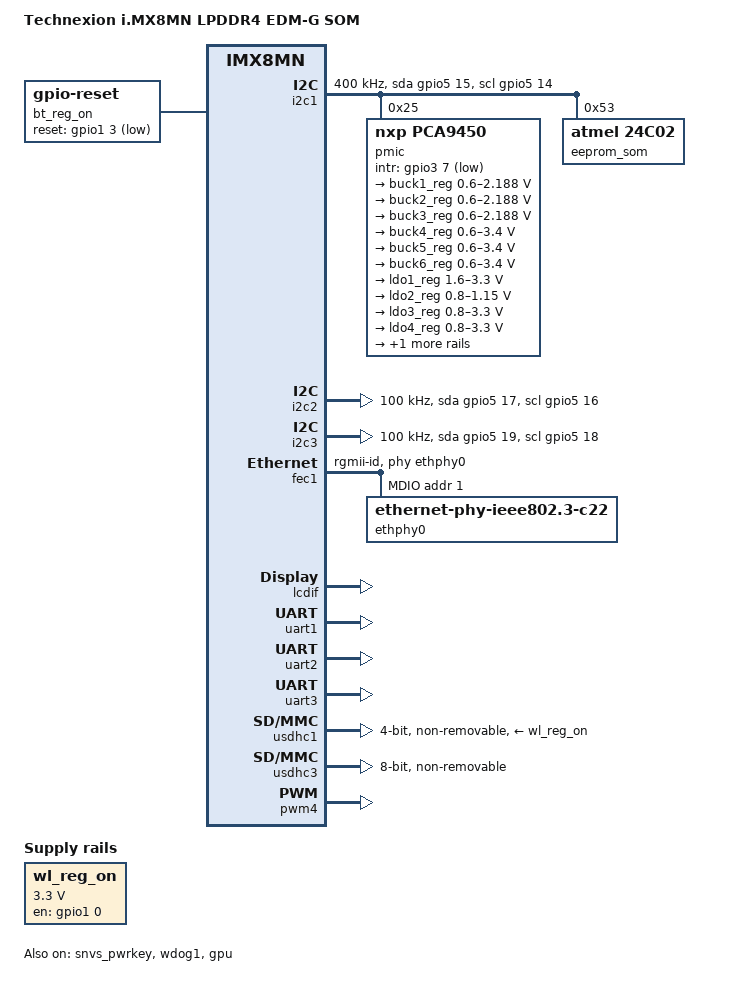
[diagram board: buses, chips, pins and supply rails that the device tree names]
// SPDX-License-Identifier: (GPL-2.0+ OR MIT)
/*
 * Copyright 2021 TechNexion Ltd.
 *
 * Author: Andy Lin <andy.lin@technexion.com>
 *
 */

/dts-v1/;

#include <dt-bindings/usb/pd.h>
#include "imx8mn.dtsi"

/ {
	model = "Technexion i.MX8MN LPDDR4 EDM-G SOM";
	compatible = "fsl,imx8mn-edm-g", "fsl,imx8mn";

	chosen {
		bootargs = "console=ttymxc1,115200 earlycon=ec_imx6q,0x30890000,115200";
		stdout-path = &uart2;
	};

	bt_reg_on: btreg_on {
		compatible = "gpio-reset";
		pinctrl-names = "default";
		pinctrl-0 = <&pinctrl_bt_ctrl>;
		reset-gpios = <&gpio1 3 GPIO_ACTIVE_LOW>;
		reset-delay-us = <2000>;
		reset-post-delay-ms = <40>;
		#reset-cells = <0>;
	};

	regulators {
		compatible = "simple-bus";
		#address-cells = <1>;
		#size-cells = <0>;

		wl_reg_on: wlreg_on {
			compatible = "regulator-fixed";
			pinctrl-names = "default";
			pinctrl-0 = <&pinctrl_wifi_ctrl>;
			regulator-name = "WL_REG_ON";
			regulator-min-microvolt = <3300000>;
			regulator-max-microvolt = <3300000>;
			gpio = <&gpio1 0 GPIO_ACTIVE_HIGH>;
			off-on-delay = <20000>;
			startup-delay-us = <100>;
			enable-active-high;
		};
	};

	dsi_host: dsi-host {
		compatible = "samsung,sec-mipi-dsi";
		status = "okay";
	};
};

&iomuxc {
	pinctrl-names = "default";

	imx8mn-edm-g {
		pinctrl_wifi_ctrl: wifi_ctrlgrp {
			fsl,pins = <
				MX8MN_IOMUXC_GPIO1_IO00_GPIO1_IO0		0x41 /* WL_REG_ON */
			>;
		};

		pinctrl_bt_ctrl: bt_ctrlgrp {
			fsl,pins = <
				MX8MN_IOMUXC_GPIO1_IO03_GPIO1_IO3		0x41 /* BT_REG_ON */
			>;
		};

		pinctrl_fec1: fec1grp {
			fsl,pins = <
				MX8MN_IOMUXC_ENET_MDC_ENET1_MDC				0x3
				MX8MN_IOMUXC_ENET_MDIO_ENET1_MDIO			0x3
				MX8MN_IOMUXC_ENET_TD3_ENET1_RGMII_TD3		0x1f
				MX8MN_IOMUXC_ENET_TD2_ENET1_RGMII_TD2		0x1f
				MX8MN_IOMUXC_ENET_TD1_ENET1_RGMII_TD1		0x1f
				MX8MN_IOMUXC_ENET_TD0_ENET1_RGMII_TD0		0x1f
				MX8MN_IOMUXC_ENET_RD3_ENET1_RGMII_RD3		0x91
				MX8MN_IOMUXC_ENET_RD2_ENET1_RGMII_RD2		0x91
				MX8MN_IOMUXC_ENET_RD1_ENET1_RGMII_RD1		0x91
				MX8MN_IOMUXC_ENET_RD0_ENET1_RGMII_RD0		0x91
				MX8MN_IOMUXC_ENET_TXC_ENET1_RGMII_TXC		0x1f
				MX8MN_IOMUXC_ENET_RXC_ENET1_RGMII_RXC		0x91
				MX8MN_IOMUXC_ENET_RX_CTL_ENET1_RGMII_RX_CTL	0x91
				MX8MN_IOMUXC_ENET_TX_CTL_ENET1_RGMII_TX_CTL	0x1f
				MX8MN_IOMUXC_SD1_DATA5_GPIO2_IO7			0x19
			>;
		};

		pinctrl_flexspi0: flexspi0grp {
			fsl,pins = <
				MX8MN_IOMUXC_NAND_ALE_QSPI_A_SCLK		0x1c4
				MX8MN_IOMUXC_NAND_CE0_B_QSPI_A_SS0_B	0x84
				MX8MN_IOMUXC_NAND_DQS_QSPI_A_DQS		0x40000084
				MX8MN_IOMUXC_NAND_DATA00_QSPI_A_DATA0	0x84
				MX8MN_IOMUXC_NAND_DATA01_QSPI_A_DATA1	0x84
				MX8MN_IOMUXC_NAND_DATA02_QSPI_A_DATA2	0x84
				MX8MN_IOMUXC_NAND_DATA03_QSPI_A_DATA3	0x84
			>;
		};

		pinctrl_sai2: sai2grp {
			fsl,pins = <
				MX8MN_IOMUXC_SAI2_TXFS_SAI2_TX_SYNC		0xd6
				MX8MN_IOMUXC_SAI2_TXC_SAI2_TX_BCLK		0xd6
				MX8MN_IOMUXC_SAI2_MCLK_SAI2_MCLK		0xd6
				MX8MN_IOMUXC_SAI2_TXD0_SAI2_TX_DATA0	0xd6
				MX8MN_IOMUXC_SAI2_RXD0_SAI2_RX_DATA0	0xd6
			>;
		};

		pinctrl_i2c1: i2c1grp {
			fsl,pins = <
				MX8MN_IOMUXC_I2C1_SCL_I2C1_SCL			0x400001c3
				MX8MN_IOMUXC_I2C1_SDA_I2C1_SDA			0x400001c3
			>;
		};

		pinctrl_i2c2: i2c2grp {
			fsl,pins = <
				MX8MN_IOMUXC_I2C2_SCL_I2C2_SCL			0x400001c3
				MX8MN_IOMUXC_I2C2_SDA_I2C2_SDA			0x400001c3
			>;
		};

		pinctrl_i2c3: i2c3grp {
			fsl,pins = <
				MX8MN_IOMUXC_I2C3_SCL_I2C3_SCL			0x400001c3
				MX8MN_IOMUXC_I2C3_SDA_I2C3_SDA			0x400001c3
			>;
		};

		pinctrl_i2c4: i2c4grp {
			fsl,pins = <
				MX8MN_IOMUXC_I2C4_SCL_I2C4_SCL			0x400001c3
				MX8MN_IOMUXC_I2C4_SDA_I2C4_SDA			0x400001c3
			>;
		};

		pinctrl_i2c1_gpio: i2c1grp-gpio {
			fsl,pins = <
				MX8MN_IOMUXC_I2C1_SCL_GPIO5_IO14		0x1c3
				MX8MN_IOMUXC_I2C1_SDA_GPIO5_IO15		0x1c3
			>;
		};

		pinctrl_i2c2_gpio: i2c2grp-gpio {
			fsl,pins = <
				MX8MN_IOMUXC_I2C2_SCL_GPIO5_IO16		0x1c3
				MX8MN_IOMUXC_I2C2_SDA_GPIO5_IO17		0x1c3
			>;
		};

		pinctrl_i2c3_gpio: i2c3grp-gpio {
			fsl,pins = <
				MX8MN_IOMUXC_I2C3_SCL_GPIO5_IO18		0x1c3
				MX8MN_IOMUXC_I2C3_SDA_GPIO5_IO19		0x1c3
			>;
		};

		pinctrl_i2c4_gpio: i2c4grp-gpio {
			fsl,pins = <
				MX8MN_IOMUXC_I2C4_SCL_GPIO5_IO20		0x1c3
				MX8MN_IOMUXC_I2C4_SDA_GPIO5_IO21		0x1c3
			>;
		};

		pinctrl_ecspi3: ecspi3grp {
			fsl,pins = <
				MX8MN_IOMUXC_UART1_RXD_ECSPI3_SCLK		0x82
				MX8MN_IOMUXC_UART1_TXD_ECSPI3_MOSI		0x82
				MX8MN_IOMUXC_UART2_RXD_ECSPI3_MISO		0x82
			>;
		};

		pinctrl_ecspi3_cs: ecspi3cs {
			fsl,pins = <
				MX8MN_IOMUXC_UART2_TXD_GPIO5_IO25		0x40000
			>;
		};

		pinctrl_pca9555_a21_irq: pca9555_a21_irqgrp {
			fsl,pins = <
				MX8MN_IOMUXC_GPIO1_IO15_GPIO1_IO15		0x150
			>;
		};

		pinctrl_pca9555_a23_irq: pca9555_a23_irqgrp {
			fsl,pins = <
				MX8MN_IOMUXC_SAI3_RXFS_GPIO4_IO28		0x150   /* GPIO_P247 */
			>;
		};

		pinctrl_pmic: pmicirq {
			fsl,pins = <
				MX8MN_IOMUXC_NAND_DATA01_GPIO3_IO7		0x41
			>;
		};
		
		pinctrl_reg_usdhc2_vmmc: regusdhc2vmmc {
			fsl,pins = <
				MX8MN_IOMUXC_SD2_RESET_B_GPIO2_IO19		0x41
			>;
		};

		pinctrl_uart1: uart1grp {
			fsl,pins = <
				MX8MN_IOMUXC_SAI2_RXFS_UART1_DCE_TX		0x140
				MX8MN_IOMUXC_SAI2_RXC_UART1_DCE_RX		0x140
				MX8MN_IOMUXC_UART3_RXD_UART1_DCE_CTS_B	0x140
				MX8MN_IOMUXC_UART3_TXD_UART1_DCE_RTS_B	0x140
			>;
		};

		pinctrl_uart2: uart2grp {
			fsl,pins = <
				MX8MN_IOMUXC_SAI3_TXFS_UART2_DCE_RX	0x140
				MX8MN_IOMUXC_SAI3_TXC_UART2_DCE_TX	0x140
				MX8MN_IOMUXC_SAI3_RXC_UART2_DCE_CTS_B 0x140
				MX8MN_IOMUXC_SAI3_RXD_UART2_DCE_RTS_B 0x140
			>;
		};

		pinctrl_uart3: uart3grp {
			fsl,pins = <
				MX8MN_IOMUXC_ECSPI1_SCLK_UART3_DCE_RX		0x140
				MX8MN_IOMUXC_ECSPI1_MISO_UART3_DCE_CTS_B	0x140
				MX8MN_IOMUXC_ECSPI1_MOSI_UART3_DCE_TX		0x140
				MX8MN_IOMUXC_ECSPI1_SS0_UART3_DCE_RTS_B		0x140
			>;
		};

		pinctrl_uart4: uart4grp {
			fsl,pins = <
				MX8MN_IOMUXC_ECSPI2_SCLK_UART4_DCE_RX		0x140
				MX8MN_IOMUXC_ECSPI2_MISO_UART4_DCE_CTS_B	0x140
				MX8MN_IOMUXC_ECSPI2_MOSI_UART4_DCE_TX		0x140
				MX8MN_IOMUXC_ECSPI2_SS0_UART4_DCE_RTS_B		0x140
			>;
		};

		pinctrl_typec1: typec1grp {
			fsl,pins = <
				MX8MN_IOMUXC_SD1_STROBE_GPIO2_IO11		0x159
			>;
		};
		
		pinctrl_usdhc2_gpio: usdhc2grpgpio {
			fsl,pins = <
				MX8MN_IOMUXC_SD2_CD_B_GPIO2_IO12		0x1c4
			>;
		};

		pinctrl_usdhc1: usdhc1grp {
			fsl,pins = <
				MX8MN_IOMUXC_SD1_CLK_USDHC1_CLK			0x190
				MX8MN_IOMUXC_SD1_CMD_USDHC1_CMD			0x1d0
				MX8MN_IOMUXC_SD1_DATA0_USDHC1_DATA0		0x1d0
				MX8MN_IOMUXC_SD1_DATA1_USDHC1_DATA1		0x1d0
				MX8MN_IOMUXC_SD1_DATA2_USDHC1_DATA2		0x1d0
				MX8MN_IOMUXC_SD1_DATA3_USDHC1_DATA3		0x1d0
			>;
		};

		pinctrl_usdhc1_100mhz: usdhc1grp100mhz {
			fsl,pins = <
				MX8MN_IOMUXC_SD1_CLK_USDHC1_CLK			0x194
				MX8MN_IOMUXC_SD1_CMD_USDHC1_CMD			0x1d4
				MX8MN_IOMUXC_SD1_DATA0_USDHC1_DATA0		0x1d4
				MX8MN_IOMUXC_SD1_DATA1_USDHC1_DATA1		0x1d4
				MX8MN_IOMUXC_SD1_DATA2_USDHC1_DATA2		0x1d4
				MX8MN_IOMUXC_SD1_DATA3_USDHC1_DATA3		0x1d4
			>;
		};

		pinctrl_usdhc1_200mhz: usdhc1grp200mhz {
			fsl,pins = <
				MX8MN_IOMUXC_SD1_CLK_USDHC1_CLK			0x196
				MX8MN_IOMUXC_SD1_CMD_USDHC1_CMD			0x1d6
				MX8MN_IOMUXC_SD1_DATA0_USDHC1_DATA0		0x1d6
				MX8MN_IOMUXC_SD1_DATA1_USDHC1_DATA1		0x1d6
				MX8MN_IOMUXC_SD1_DATA2_USDHC1_DATA2		0x1d6
				MX8MN_IOMUXC_SD1_DATA3_USDHC1_DATA3		0x1d6
			>;
		};

		pinctrl_usdhc2: usdhc2grp {
			fsl,pins = <
				MX8MN_IOMUXC_SD2_CLK_USDHC2_CLK			0x190
				MX8MN_IOMUXC_SD2_CMD_USDHC2_CMD			0x1d0
				MX8MN_IOMUXC_SD2_DATA0_USDHC2_DATA0		0x1d0
				MX8MN_IOMUXC_SD2_DATA1_USDHC2_DATA1		0x1d0
				MX8MN_IOMUXC_SD2_DATA2_USDHC2_DATA2		0x1d0
				MX8MN_IOMUXC_SD2_DATA3_USDHC2_DATA3		0x1d0
				MX8MN_IOMUXC_GPIO1_IO04_USDHC2_VSELECT	0x1d0
			>;
		};

		pinctrl_usdhc2_100mhz: usdhc2grp100mhz {
			fsl,pins = <
				MX8MN_IOMUXC_SD2_CLK_USDHC2_CLK			0x194
				MX8MN_IOMUXC_SD2_CMD_USDHC2_CMD			0x1d4
				MX8MN_IOMUXC_SD2_DATA0_USDHC2_DATA0		0x1d4
				MX8MN_IOMUXC_SD2_DATA1_USDHC2_DATA1		0x1d4
				MX8MN_IOMUXC_SD2_DATA2_USDHC2_DATA2		0x1d4
				MX8MN_IOMUXC_SD2_DATA3_USDHC2_DATA3		0x1d4
				MX8MN_IOMUXC_GPIO1_IO04_USDHC2_VSELECT	0x1d0
			>;
		};

		pinctrl_usdhc2_200mhz: usdhc2grp200mhz {
			fsl,pins = <
				MX8MN_IOMUXC_SD2_CLK_USDHC2_CLK			0x196
				MX8MN_IOMUXC_SD2_CMD_USDHC2_CMD			0x1d6
				MX8MN_IOMUXC_SD2_DATA0_USDHC2_DATA0		0x1d6
				MX8MN_IOMUXC_SD2_DATA1_USDHC2_DATA1		0x1d6
				MX8MN_IOMUXC_SD2_DATA2_USDHC2_DATA2		0x1d6
				MX8MN_IOMUXC_SD2_DATA3_USDHC2_DATA3		0x1d6
				MX8MN_IOMUXC_GPIO1_IO04_USDHC2_VSELECT	0x1d0
			>;
		};

		pinctrl_usdhc3: usdhc3grp {
			fsl,pins = <
				MX8MN_IOMUXC_NAND_WE_B_USDHC3_CLK		0x40000190
				MX8MN_IOMUXC_NAND_WP_B_USDHC3_CMD		0x1d0
				MX8MN_IOMUXC_NAND_DATA04_USDHC3_DATA0	0x1d0
				MX8MN_IOMUXC_NAND_DATA05_USDHC3_DATA1	0x1d0
				MX8MN_IOMUXC_NAND_DATA06_USDHC3_DATA2	0x1d0
				MX8MN_IOMUXC_NAND_DATA07_USDHC3_DATA3	0x1d0
				MX8MN_IOMUXC_NAND_RE_B_USDHC3_DATA4		0x1d0
				MX8MN_IOMUXC_NAND_CE2_B_USDHC3_DATA5	0x1d0
				MX8MN_IOMUXC_NAND_CE3_B_USDHC3_DATA6	0x1d0
				MX8MN_IOMUXC_NAND_CLE_USDHC3_DATA7		0x1d0
				MX8MN_IOMUXC_NAND_CE1_B_USDHC3_STROBE	0x190
			>;
		};

		pinctrl_usdhc3_100mhz: usdhc3grp100mhz {
			fsl,pins = <
				MX8MN_IOMUXC_NAND_WE_B_USDHC3_CLK		0x40000194
				MX8MN_IOMUXC_NAND_WP_B_USDHC3_CMD		0x1d4
				MX8MN_IOMUXC_NAND_DATA04_USDHC3_DATA0	0x1d4
				MX8MN_IOMUXC_NAND_DATA05_USDHC3_DATA1	0x1d4
				MX8MN_IOMUXC_NAND_DATA06_USDHC3_DATA2	0x1d4
				MX8MN_IOMUXC_NAND_DATA07_USDHC3_DATA3	0x1d4
				MX8MN_IOMUXC_NAND_RE_B_USDHC3_DATA4		0x1d4
				MX8MN_IOMUXC_NAND_CE2_B_USDHC3_DATA5	0x1d4
				MX8MN_IOMUXC_NAND_CE3_B_USDHC3_DATA6	0x1d4
				MX8MN_IOMUXC_NAND_CLE_USDHC3_DATA7		0x1d4
				MX8MN_IOMUXC_NAND_CE1_B_USDHC3_STROBE 	0x194
			>;
		};

		pinctrl_usdhc3_200mhz: usdhc3grp200mhz {
			fsl,pins = <
				MX8MN_IOMUXC_NAND_WE_B_USDHC3_CLK		0x40000196
				MX8MN_IOMUXC_NAND_WP_B_USDHC3_CMD		0x1d6
				MX8MN_IOMUXC_NAND_DATA04_USDHC3_DATA0	0x1d6
				MX8MN_IOMUXC_NAND_DATA05_USDHC3_DATA1	0x1d6
				MX8MN_IOMUXC_NAND_DATA06_USDHC3_DATA2	0x1d6
				MX8MN_IOMUXC_NAND_DATA07_USDHC3_DATA3	0x1d6
				MX8MN_IOMUXC_NAND_RE_B_USDHC3_DATA4		0x1d6
				MX8MN_IOMUXC_NAND_CE2_B_USDHC3_DATA5	0x1d6
				MX8MN_IOMUXC_NAND_CE3_B_USDHC3_DATA6	0x1d6
				MX8MN_IOMUXC_NAND_CLE_USDHC3_DATA7		0x1d6
				MX8MN_IOMUXC_NAND_CE1_B_USDHC3_STROBE 	0x196
			>;
		};

		pinctrl_wdog: wdoggrp {
			fsl,pins = <
				MX8MN_IOMUXC_GPIO1_IO02_WDOG1_WDOG_B	0xc6
			>;
		};

		pinctrl_mipi_dsi_en: mipi_dsi_en {
			fsl,pins = <
				MX8MN_IOMUXC_NAND_DATA03_GPIO3_IO9		0x16 /* enable pin of sn65dsi84 */
			>;
		};

		pinctrl_otg_vbus: usbotg1_pwr_en {
			fsl,pins = <
				MX8MN_IOMUXC_GPIO1_IO10_GPIO1_IO10		0x16
			>;
		};

		pinctrl_hd3ss3220_irq: hd3ss3220_irqgrp {
			fsl,pins = <
				MX8MN_IOMUXC_SD1_RESET_B_GPIO2_IO10		0x41 /* GPIO_P253 */
			>;
		};
		pinctrl_lvds0_pwr: lvds0_pwrgrp {
			fsl,pins = <
				MX8MN_IOMUXC_GPIO1_IO07_GPIO1_IO7		0x19
			>;
		};

		pinctrl_lvds0_backlight_pwr: lvds0_bl_pwrgrp {
			fsl,pins = <
				MX8MN_IOMUXC_GPIO1_IO12_GPIO1_IO12		0x19
			>;
		};

		pinctrl_lvds0_backlight_pwm: lvds0_bl_pwmgrp {
			fsl,pins = <
				MX8MN_IOMUXC_SPDIF_RX_PWM2_OUT			0x16
			>;
		};

		pinctrl_pwm4: pwm4grp {
			fsl,pins = <
				MX8MN_IOMUXC_SAI3_MCLK_PWM4_OUT		0x16
			>;
		};
	};
};

&i2c1 {
	clock-frequency = <400000>;
	pinctrl-names = "default", "gpio";
	pinctrl-0 = <&pinctrl_i2c1>;
	pinctrl-1 = <&pinctrl_i2c1_gpio>;
	scl-gpios = <&gpio5 14 GPIO_ACTIVE_HIGH>;
	sda-gpios = <&gpio5 15 GPIO_ACTIVE_HIGH>;
	status = "okay";

	pmic: pca9450@25 {
		reg = <0x25>;
		compatible = "nxp,pca9450";
		/* PMIC PCA9450 PMIC_nINT GPIO3_IO7 */
		pinctrl-0 = <&pinctrl_pmic>;
		gpio_intr = <&gpio3 7 GPIO_ACTIVE_LOW>;

		regulators {
			#address-cells = <1>;
			#size-cells = <0>;

			pca9450,pmic-buck2-uses-i2c-dvs;
			/* Run/Standby voltage */
			pca9450,pmic-buck2-dvs-voltage = <950000>, <850000>;

			buck1_reg: regulator@0 {
				reg = <0>;
				regulator-compatible = "buck1";
				regulator-min-microvolt = <600000>;
				regulator-max-microvolt = <2187500>;
				regulator-boot-on;
				regulator-always-on;
				regulator-ramp-delay = <3125>;
			};

			buck2_reg: regulator@1 {
				reg = <1>;
				regulator-compatible = "buck2";
				regulator-min-microvolt = <600000>;
				regulator-max-microvolt = <2187500>;
				regulator-boot-on;
				regulator-always-on;
				regulator-ramp-delay = <3125>;
			};

			buck3_reg: regulator@2 {
				reg = <2>;
				regulator-compatible = "buck3";
				regulator-min-microvolt = <600000>;
				regulator-max-microvolt = <2187500>;
				regulator-boot-on;
				regulator-always-on;
			};

			buck4_reg: regulator@3 {
				reg = <3>;
				regulator-compatible = "buck4";
				regulator-min-microvolt = <600000>;
				regulator-max-microvolt = <3400000>;
				regulator-boot-on;
				regulator-always-on;
			};

			buck5_reg: regulator@4 {
				reg = <4>;
				regulator-compatible = "buck5";
				regulator-min-microvolt = <600000>;
				regulator-max-microvolt = <3400000>;
				regulator-boot-on;
				regulator-always-on;
			};

			buck6_reg: regulator@5 {
				reg = <5>;
				regulator-compatible = "buck6";
				regulator-min-microvolt = <600000>;
				regulator-max-microvolt = <3400000>;
				regulator-boot-on;
				regulator-always-on;
			};

			ldo1_reg: regulator@6 {
				reg = <6>;
				regulator-compatible = "ldo1";
				regulator-min-microvolt = <1600000>;
				regulator-max-microvolt = <3300000>;
				regulator-boot-on;
				regulator-always-on;
			};

			ldo2_reg: regulator@7 {
				reg = <7>;
				regulator-compatible = "ldo2";
				regulator-min-microvolt = <800000>;
				regulator-max-microvolt = <1150000>;
				regulator-boot-on;
				regulator-always-on;
			};

			ldo3_reg: regulator@8 {
				reg = <8>;
				regulator-compatible = "ldo3";
				regulator-min-microvolt = <800000>;
				regulator-max-microvolt = <3300000>;
				regulator-boot-on;
				regulator-always-on;
			};

			ldo4_reg: regulator@9 {
				reg = <9>;
				regulator-compatible = "ldo4";
				regulator-min-microvolt = <800000>;
				regulator-max-microvolt = <3300000>;
				regulator-boot-on;
				regulator-always-on;
			};

			ldo5_reg: regulator@10 {
				reg = <10>;
				regulator-compatible = "ldo5";
				regulator-min-microvolt = <1800000>;
				regulator-max-microvolt = <3300000>;
			};

		};
	};

	eeprom_som: eeprom@53 {
		compatible = "atmel,24c02";
		reg = <0x53>;
		pagesize = <16>;
		status = "okay";
	};
};

&i2c2 { /* I2C_B */
	clock-frequency = <100000>;
	pinctrl-names = "default", "gpio";
	pinctrl-0 = <&pinctrl_i2c2>;
	pinctrl-1 = <&pinctrl_i2c2_gpio>;
	scl-gpios = <&gpio5 16 GPIO_ACTIVE_HIGH>;
	sda-gpios = <&gpio5 17 GPIO_ACTIVE_HIGH>;
	status = "okay";
};

&i2c3 { /* I2C_C */
	clock-frequency = <100000>;
	pinctrl-names = "default", "gpio";
	pinctrl-0 = <&pinctrl_i2c3>;
	pinctrl-1 = <&pinctrl_i2c3_gpio>;
	scl-gpios = <&gpio5 18 GPIO_ACTIVE_HIGH>;
	sda-gpios = <&gpio5 19 GPIO_ACTIVE_HIGH>;
	status = "okay";
};

&i2c4 {
	clock-frequency = <100000>;
	pinctrl-names = "default", "gpio";
	pinctrl-0 = <&pinctrl_i2c4>;
	pinctrl-1 = <&pinctrl_i2c4_gpio>;
	scl-gpios = <&gpio5 20 GPIO_ACTIVE_HIGH>;
	sda-gpios = <&gpio5 21 GPIO_ACTIVE_HIGH>;
	status = "disabled";
};

&flexspi {
	pinctrl-names = "default";
	pinctrl-0 = <&pinctrl_flexspi0>;
	status = "disabled";
};

&fec1 {
	pinctrl-names = "default";
	pinctrl-0 = <&pinctrl_fec1>;
	phy-mode = "rgmii-id";
	phy-handle = <&ethphy0>;
	fsl,magic-packet;
	status = "okay";

	mdio {
		#address-cells = <1>;
		#size-cells = <0>;

		ethphy0: ethernet-phy@1 {
			compatible = "ethernet-phy-ieee802.3-c22";
			reg = <1>;
			at803x,led-act-blind-workaround;
			at803x,eee-disabled;
			at803x,vddio-1p8v;
		};
	};
};

&lcdif {
	status = "okay";
};

&snvs_pwrkey {
	status = "okay";
};

&uart1 {
	pinctrl-names = "default";
	pinctrl-0 = <&pinctrl_uart1>;
	fsl,uart-has-rtscts;
	status = "okay";
};

/* A53 Console */
&uart2 {
	pinctrl-names = "default";
	pinctrl-0 = <&pinctrl_uart2>;
	fsl,uart-has-rtscts;
	status = "okay";
};

/* Bluetooth */
&uart3 {
	pinctrl-names = "default";
	pinctrl-0 = <&pinctrl_uart3>;
	assigned-clocks = <&clk IMX8MN_CLK_UART3>;
	assigned-clock-parents = <&clk IMX8MN_SYS_PLL1_80M>;
	resets = <&bt_reg_on>;
	fsl,uart-has-rtscts;
	status = "okay";
};

/* M7 Console */
&uart4 {
	pinctrl-names = "default";
	pinctrl-0 = <&pinctrl_uart4>;
	fsl,uart-has-rtscts;
	status = "disabled";
};

/* WIFI/BT SDIO */
&usdhc1 {
	pinctrl-names = "default", "state_100mhz", "state_200mhz";
	pinctrl-0 = <&pinctrl_usdhc1>;
	pinctrl-1 = <&pinctrl_usdhc1_100mhz>;
	pinctrl-2 = <&pinctrl_usdhc1_200mhz>;
	max-frequency = <133333333>;
	bus-width = <4>;
	vmmc-supply = <&wl_reg_on>;
	pm-ignore-notify;
	keep-power-in-suspend;
	non-removable;
	status = "okay";
};

/* eMMC SDIO */
&usdhc3 {
	pinctrl-names = "default", "state_100mhz", "state_200mhz";
	pinctrl-0 = <&pinctrl_usdhc3>;
	pinctrl-1 = <&pinctrl_usdhc3_100mhz>;
	pinctrl-2 = <&pinctrl_usdhc3_200mhz>;
	bus-width = <8>;
	non-removable;
	status = "okay";
};

&pwm4 {
	pinctrl-names = "default";
	pinctrl-0 = <&pinctrl_pwm4>;
	status = "okay";
};

&wdog1 {
	pinctrl-names = "default";
	pinctrl-0 = <&pinctrl_wdog>;
	fsl,ext-reset-output;
	timeout-sec = <20>;
	status = "okay";
};

&gpu {
	status = "okay";
};
